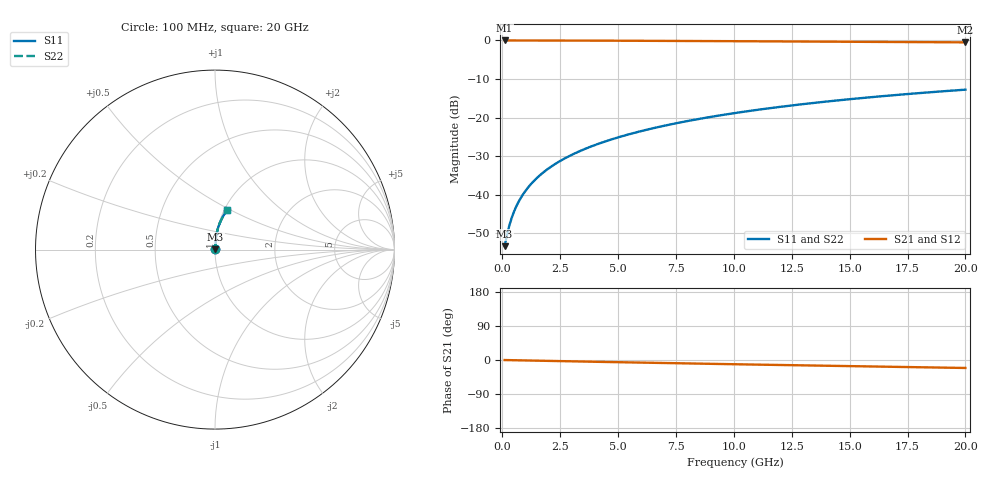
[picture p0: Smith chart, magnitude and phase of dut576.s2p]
! Touchstone file exported from HFSS 2024.1.0
!  File:  C:/UserFiles/LocalFiles/RDL_TSV_Batchsim/temp_RDL_bottom_576_1779690380.aedt
!  Generated:  02:29:13 PM May 25, 2026
!  Design:  RDL_bottom
!  Project:  temp_RDL_bottom_576_1779690380
!  Setup:  Setup1
!  Solution:  Sweep
! Variables:
!  dtsv = 10.80580581um
!  hbump = 3um
!  htsv = 70.26um
!  ldown = 274.26um
!  lrdl = 100um
!  p = 40
!  p1 = 42.37um
!  rhole = 1um
!  t = 450um
!  tdown = 3.44um
!  trdl = 3.915915916um
!  wdown = 17.47um
!  wrdl = 20um
# GHz S MA R 50.000000
! Terminal data exported
! Port[1] = RDL1_T1
! Port[2] = RDL1_T2
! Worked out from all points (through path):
!   200 points, 100 MHz to 20 GHz, reference 50 ohm
!   highest |S21| = -0.02 dB at 100 MHz (marker M1); lowest = -0.5 dB at 20 GHz (marker M2)
!   group delay of S21, straight-line fit = 2.9 ps
!   lowest |S11| = -53.3 dB at 100 MHz (marker M3), VSWR 1.00, Z = 50.2 + j0.118 ohm
!   |S11| at or under -10 dB: start of sweep to end of sweep
!   |S22| runs from -53.3 to -12.8 dB; largest |S21 - S12| = 3.1e-15
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0.1  0.002154 33.0  0.9982 -0.1  0.9982 -0.1  0.002154 33.0
! Gamma 0 0 0 0
! Port Impedance 50 0 50 0
0.2  0.002978 51.4  0.9981 -0.2  0.9981 -0.2  0.002978 51.4
0.3  0.003947 60.8  0.9981 -0.4  0.9981 -0.4  0.003947 60.8
0.4  0.004958 66.4  0.998 -0.5  0.998 -0.5  0.004958 66.4
0.5  0.005983 70.0  0.9979 -0.6  0.9979 -0.6  0.005983 70.0
0.6  0.007016 72.7  0.9978 -0.7  0.9978 -0.7  0.007016 72.7
0.8  0.0091 76.3  0.9977 -1.0  0.9977 -1.0  0.0091 76.3
1.1  0.01227 79.5  0.9975 -1.3  0.9975 -1.3  0.01227 79.5
1.3  0.0144 80.9  0.9973 -1.5  0.9973 -1.5  0.0144 80.9
1.6  0.01762 82.3  0.997 -1.9  0.997 -1.9  0.01762 82.3
2.1  0.02303 83.8  0.9964 -2.5  0.9964 -2.5  0.02303 83.8
2.7  0.02959 84.8  0.9956 -3.2  0.9956 -3.2  0.02959 84.8
3.5  0.03844 85.4  0.9942 -4.1  0.9942 -4.1  0.03844 85.4
4.2  0.04628 85.5  0.9928 -4.9  0.9928 -4.9  0.04628 85.5
5  0.05534 85.5  0.9909 -5.8  0.9909 -5.8  0.05534 85.5
5.9  0.06566 85.3  0.9886 -6.8  0.9886 -6.8  0.06566 85.3
6.8  0.0761 84.9  0.9861 -7.8  0.9861 -7.8  0.07609 84.9
8.4  0.09488 83.8  0.9814 -9.5  0.9814 -9.5  0.09488 83.8
10.1  0.115 82.5  0.9762 -11.3  0.9762 -11.3  0.115 82.5
13.4  0.1542 79.5  0.9656 -14.6  0.9656 -14.6  0.1542 79.5
16.7  0.1926 76.2  0.9547 -17.9  0.9547 -17.9  0.1926 76.2
20  0.2299 72.8  0.9433 -21.0  0.9433 -21.0  0.2299 72.8
